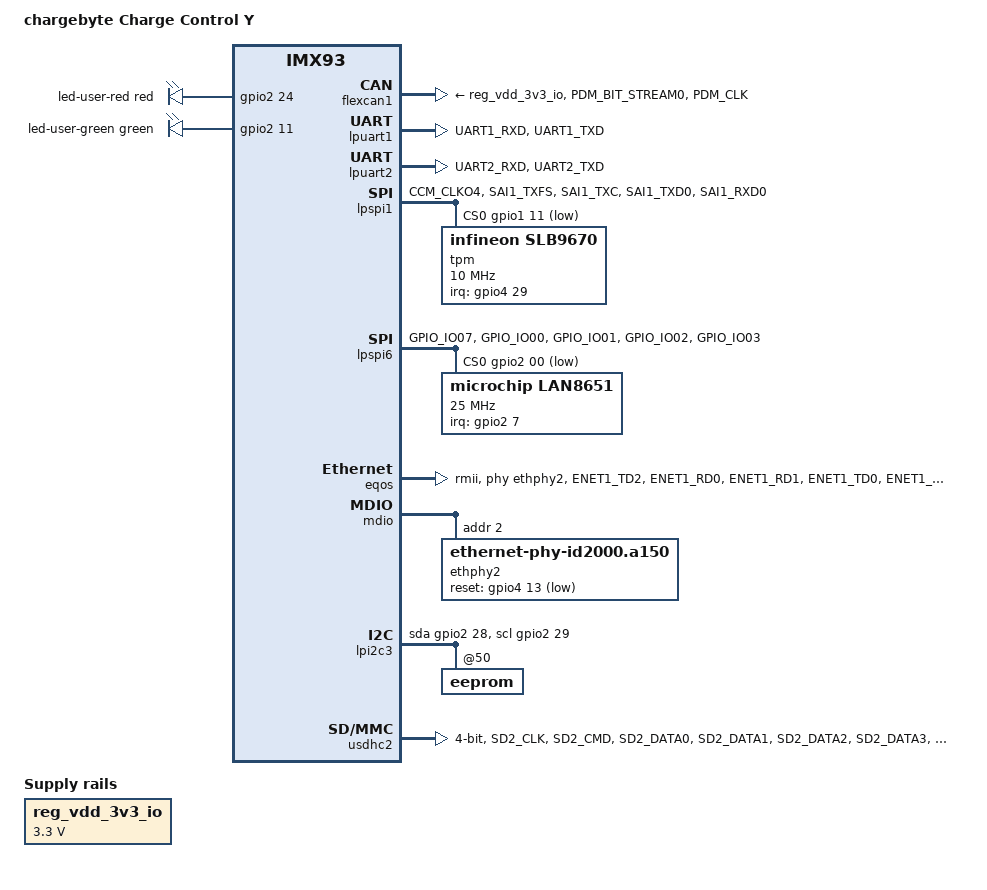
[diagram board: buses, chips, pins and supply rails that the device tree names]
// SPDX-License-Identifier: (GPL-2.0+ OR MIT)
/*
 * Copyright (C) 2025 chargebyte GmbH
 */

/dts-v1/;

#include <dt-bindings/interrupt-controller/irq.h>
#include "imx93-phycore-som.dtsi"

/ {
	model = "chargebyte Charge Control Y";
	compatible = "chargebyte,imx93-charge-control-y", "phytec,imx93-phycore-som", "fsl,imx93";

	aliases {
		ethernet0 = &fec;
		ethernet1 = &lan8651;
		ethernet2 = &eqos;
	};

	chosen {
		stdout-path = &lpuart1;
	};

	user_leds: user-leds {
		compatible = "gpio-leds";
		pinctrl-names = "default";
		pinctrl-0 = <&pinctrl_user_leds>;
		
		led-user-red {
			color = <LED_COLOR_ID_RED>;
			function = LED_FUNCTION_BOOT;
			gpios = <&gpio2 24 GPIO_ACTIVE_HIGH>;
			linux,default-trigger = "timer";
		};

		led-user-green {
			color = <LED_COLOR_ID_GREEN>;
			function = LED_FUNCTION_SD;
			gpios = <&gpio2 11 GPIO_ACTIVE_HIGH>;
			linux,default-trigger = "mmc1";
		};
	};

	// Avoid conflict with Heartbeat LED on phyCore
	/delete-node/ leds;

	/* Regulator switch for IO */
	reg_vdd_3v3_io: regulator-vdd-3v3_io {
		compatible = "regulator-fixed";
		regulator-max-microvolt = <3300000>;
		regulator-min-microvolt = <3300000>;
		regulator-name = "VDD_IO_3V3_IO";
	};
};

/* CAN */
&flexcan1 {
	pinctrl-names = "default";
	pinctrl-0 = <&pinctrl_flexcan1>;
	xceiver-supply = <&reg_vdd_3v3_io>;
	status = "okay";
};

&gpio1 {
	// 16 pins (0..15)
	gpio-line-names = "", "", "", "", "", "", "LPUART2_RX", "LPUART2_TX", "CAN1_TX", "CAN1_RX", \
			  "CHSTOP_IN", "SPI_TPM_nCS0", "", "", "", "";
};

&gpio2 {
	// 30 pins (0..29)
	gpio-line-names = "X_LAN_nCS", "", "", "", "", "", "", "X_LAN_nIRQ", "", "", \
			  "", "GREEN_LED", "", "", "", "", "", "", "", "", \
			  "", "", "", "", "RED_LED", "", "", "", "", "";
};

&gpio3 {
	// 32 pins (0..31)
	gpio-line-names = "SD2_nCD", "", "", "", "", "", "", "SD2_nRESET", "", "", \
			  "", "", "", "", "", "", "", "", "", "", \
			  "", "", "", "", "", "", "", "", "X_TDI", "X_TMS_SWDIO", \
			  "", "X_TDO";
};

&gpio4 {
	pinctrl-names = "default";
	pinctrl-0 = <&pinctrl_gpio4>;
	// 30 pins (0..29)
	gpio-line-names = "", "", "", "", "", "", "", "", "", "", \
			  "", "", "SAFETY_BOOTMODE_SET", "ENET1_nRST", "", "", "", "", "", "", \
			  "", "SOM_EEPROM_WP", "", "SOM_RESET_PHY", "", "", "", "PMIC_IRQ_B", "nSAFETY_RESET_INT", "SPI_TPM_nINT0";
};

/* Console */
&lpuart1 {
	pinctrl-names = "default";
	pinctrl-0 = <&pinctrl_uart1>;
	status = "okay";
};

/* Safety Controller */
&lpuart2 {
	pinctrl-names = "default";
	pinctrl-0 = <&pinctrl_uart2>;
	status = "okay";
};

/* TPM */
&lpspi1 {
	pinctrl-names = "default";
	pinctrl-0 = <&pinctrl_lpspi1>;
	num-cs = <1>;
	cs-gpios = <&gpio1 11 GPIO_ACTIVE_LOW>;
	status = "okay";

	/* TPM */
	tpm@0 {
		compatible = "infineon,slb9670", "tcg,tpm_tis-spi";
		reg = <0>;
		spi-max-frequency = <10000000>;
		interrupt-parent = <&gpio4>;
		interrupts = <29 IRQ_TYPE_LEVEL_LOW>;
	};
};

/* MCS Ethernet SPI */
&lpspi6 {
	pinctrl-names = "default";
	pinctrl-0 = <&pinctrl_lpspi6>;
	num-cs = <1>;
	cs-gpios = <&gpio2 00 GPIO_ACTIVE_LOW>;
	status = "okay";

	lan8651: ethernet@0 {
		compatible = "microchip,lan8651", "microchip,lan8650";
		reg = <0>;
		interrupt-parent = <&gpio2>;
		interrupts = <7 IRQ_TYPE_EDGE_FALLING>;
		spi-max-frequency = <25000000>;

		nvmem-cells = <&eth2_mac_address 0>;
		nvmem-cell-names = "mac-address";
	};
};

/* Ethernet 2 */
&eqos {
	pinctrl-names = "default";
	pinctrl-0 = <&pinctrl_eqos>;
	phy-mode = "rmii";
	phy-handle = <&ethphy2>;
	assigned-clocks = <&clk IMX93_CLK_ENET_TIMER2>,
			  <&clk IMX93_CLK_ENET>;
	assigned-clock-parents = <&clk IMX93_CLK_SYS_PLL_PFD1_DIV2>,
				 <&clk IMX93_CLK_SYS_PLL_PFD1_DIV2>;
	assigned-clock-rates = <100000000>, <50000000>;

	nvmem-cells = <&eth1_mac_address 0>;
	nvmem-cell-names = "mac-address";

	status = "okay";
};

/* Ethernet 2 PHY */
&mdio {
	ethphy2: ethernet-phy@2 {
		reg = <2>;
		/* FIXME: the following PHY ID must be hardcoded otherwise
		          the PHY will not be found after cold start */
		compatible = "ethernet-phy-id2000.a150", "ethernet-phy-ieee802.3-c22";
		reset-gpios = <&gpio4 13 GPIO_ACTIVE_LOW>;
		reset-assert-us = <30>;
	};
};

&lpi2c3 {
	pinctrl-names = "default", "gpio";
	pinctrl-0 = <&pinctrl_lpi2c3>;
	pinctrl-1 = <&pinctrl_lpi2c3_gpio>;
	scl-gpios = <&gpio2 29 (GPIO_ACTIVE_HIGH | GPIO_OPEN_DRAIN)>;
	sda-gpios = <&gpio2 28 (GPIO_ACTIVE_HIGH | GPIO_OPEN_DRAIN)>;

	eeprom@50 {
		nvmem-layout {
			compatible = "fixed-layout";
			#address-cells = <1>;
			#size-cells = <1>;

			/* Wired ethernet interface */
			eth1_mac_address: base-mac-address@100 {
				compatible = "mac-base";
				reg = <0x100 0x6>;
				#nvmem-cell-cells = <1>;
			};

			/* MCS ethernet interface */
			eth2_mac_address: base-mac-address@108 {
				compatible = "mac-base";
				reg = <0x108 0x6>;
				#nvmem-cell-cells = <1>;
			};
		};
	};
};

&usbphynop1 {
	status = "disabled";
};

&usbphynop2 {
	status = "disabled";
};


/* SD */
&usdhc2 {
	pinctrl-names = "default";
	pinctrl-0 = <&pinctrl_usdhc2_default>, <&pinctrl_usdhc2_cd>;
	cd-gpios = <&gpio3 00 GPIO_ACTIVE_LOW>;
	bus-width = <4>;
	no-1-8-v;
	status = "okay";
};

&iomuxc {

	/delete-node/ pinctrl_leds;

	pinctrl_user_leds: userledgrp {
		fsl,pins = <
			MX93_PAD_GPIO_IO24__GPIO2_IO24		0x31e // USER_RED
			MX93_PAD_GPIO_IO11__GPIO2_IO11		0x31e // USER_GREEN
		>;
	};

	/*  */
	pinctrl_eqos: eqosgrp {
		fsl,pins = <
			MX93_PAD_ENET1_TD2__CCM_ENET_QOS_CLOCK_GENERATE_REF_CLK		0x4000050e
			MX93_PAD_ENET1_RD0__ENET_QOS_RGMII_RD0				0x57e
			MX93_PAD_ENET1_RD1__ENET_QOS_RGMII_RD1				0x57e
			MX93_PAD_ENET1_TD0__ENET_QOS_RGMII_TD0				0x50e
			MX93_PAD_ENET1_TD1__ENET_QOS_RGMII_TD1				0x50e
			MX93_PAD_ENET1_RX_CTL__ENET_QOS_RGMII_RX_CTL			0x57e
			MX93_PAD_ENET1_TX_CTL__ENET_QOS_RGMII_TX_CTL			0x50e
			MX93_PAD_ENET1_RXC__ENET_QOS_RX_ER				0x57e
			MX93_PAD_ENET1_RD3__GPIO4_IO13					0x902
		>;
	};

	/* Pinctrl SD */
	pinctrl_reg_usdhc2_vmmc: regusdhc2vmmcgrp {
		fsl,pins = <
			MX93_PAD_SD2_RESET_B__GPIO3_IO07	0x31e // X_SD2_nRESET
		>;
	};

	pinctrl_usdhc2_cd: usdhc2cdgrp {
		fsl,pins = <
			MX93_PAD_SD2_CD_B__GPIO3_IO00		0x31e
		>;
	};

	/* need to config the SION for data and cmd pad, refer to ERR052021 */
	pinctrl_usdhc2_default: usdhc2grp {
		fsl,pins = <
			MX93_PAD_SD2_CLK__USDHC2_CLK		0x179e
			MX93_PAD_SD2_CMD__USDHC2_CMD		0x4000139e
			MX93_PAD_SD2_DATA0__USDHC2_DATA0	0x4000138e
			MX93_PAD_SD2_DATA1__USDHC2_DATA1	0x4000138e
			MX93_PAD_SD2_DATA2__USDHC2_DATA2	0x4000138e
			MX93_PAD_SD2_DATA3__USDHC2_DATA3	0x4000139e
		>;
	};

	/* Pinctrl TPM */
	pinctrl_lpspi1: lpspi1grp {
		/* drive strength: X2, slew rate: fast, no pull */
		fsl,pins = <
			MX93_PAD_CCM_CLKO4__GPIO4_IO29		0x186 // SPI_TPM_nINT0
			MX93_PAD_SAI1_TXFS__GPIO1_IO11		0x186 // SPI_TPM_nCS0
			MX93_PAD_SAI1_TXC__LPSPI1_SIN 		0x186
			MX93_PAD_SAI1_TXD0__LPSPI1_SCK		0x186
			MX93_PAD_SAI1_RXD0__LPSPI1_SOUT		0x186
		>;
	};
	
	/* PinCtrl MCS LAN SPI */
	pinctrl_lpspi6: lpspi6grp {
		/* drive strength: X2, slew rate: fast, no pull */
		fsl,pins = <
			MX93_PAD_GPIO_IO07__GPIO2_IO07		0x186 // X_LAN_nINT0
			MX93_PAD_GPIO_IO00__GPIO2_IO00		0x186 // X_LAN_nCS0
			MX93_PAD_GPIO_IO01__LPSPI6_SIN		0x186 // X_LAN_MISO
			MX93_PAD_GPIO_IO02__LPSPI6_SOUT		0x186 // X_LAN_MOSI
			MX93_PAD_GPIO_IO03__LPSPI6_SCK		0x186 // X_LAN_SCK
		>;
	};

	pinctrl_lpi2c3_gpio: lpi2c3gpiogrp {
		fsl,pins = <
			MX93_PAD_GPIO_IO28__GPIO2_IO28		0x40000b9e
			MX93_PAD_GPIO_IO29__GPIO2_IO29		0x40000b9e
		>;
	};

	/* Pinctrl Console */
	pinctrl_uart1: uart1grp {
		fsl,pins = <
			MX93_PAD_UART1_RXD__LPUART1_RX		0x31e // drive strength: X4, slew rate: slightly fast, pull up
			MX93_PAD_UART1_TXD__LPUART1_TX		0x30e // drive strength: X3, slew rate: slightly fast, pull up
		>;
	};

	/* Pinctrl Safety Controller */
	pinctrl_uart2: uart2grp {
		fsl,pins = <
			MX93_PAD_UART2_RXD__LPUART2_RX		0x31e // drive strength: X4, slew rate: slightly fast, pull up
			MX93_PAD_UART2_TXD__LPUART2_TX		0x30e // drive strength: X3, slew rate: slightly fast, pull up
		>;
	};

	pinctrl_gpio4: gpio4grp {
		fsl,pins = <
			MX93_PAD_ENET1_TXC__GPIO4_IO07		0x3fe // X_ENET1_INT
			MX93_PAD_ENET1_RD2__GPIO4_IO12		0x3fe // SC_BOOTMODE
			MX93_PAD_CCM_CLKO3__GPIO4_IO28		0x3fe // SC_nRST_INT
		>;
	};

	pinctrl_flexcan1: flexcan1grp {
		fsl,pins = <
			MX93_PAD_PDM_BIT_STREAM0__CAN1_RX	0x139e
			MX93_PAD_PDM_CLK__CAN1_TX		0x1382
		>;
	};
};
